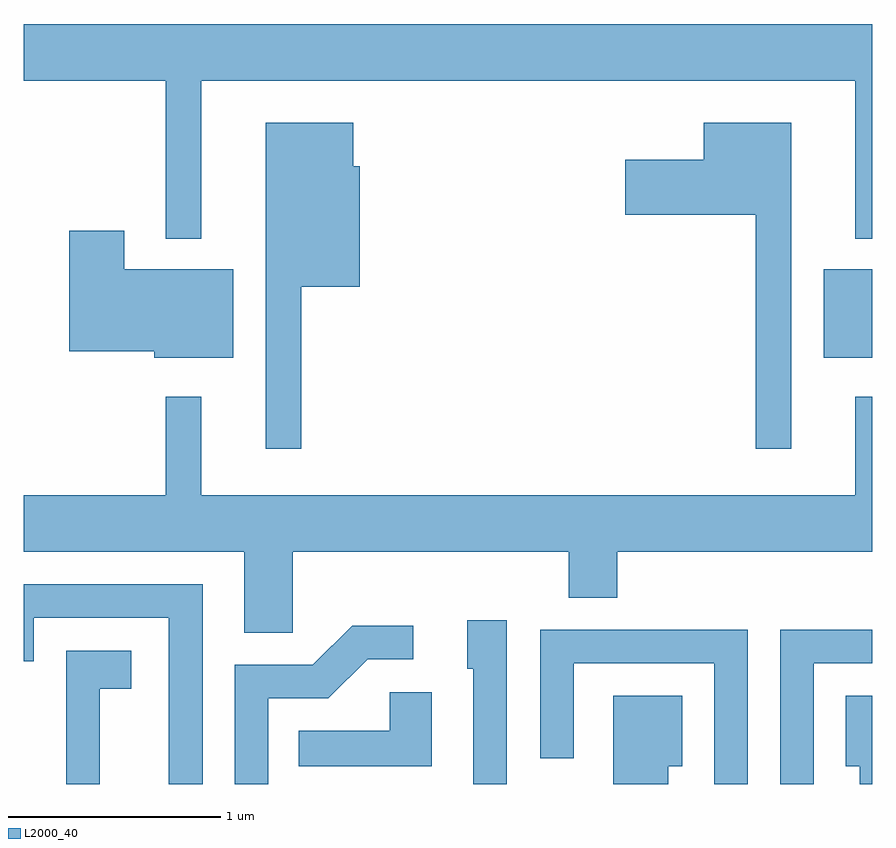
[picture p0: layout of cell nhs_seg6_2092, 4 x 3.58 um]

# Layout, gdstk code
import gdstk
lib = gdstk.Library(unit=1e-6, precision=1e-09)
def R(c, l, rs):  # rectangles x0, y0, x1, y1
    for r in rs: c.add(gdstk.rectangle(r[:2], r[2:], *l))
def P(c, l, *ps):  # polygons
    for p in ps: c.add(gdstk.Polygon(p, *l))
L2000_40 = (2000, 40)

nhs_seg6_2092 = lib.new_cell('nhs_seg6_2092')
R(nhs_seg6_2092, L2000_40, [(251.381,1664.171,251.611,1664.589)])
P(nhs_seg6_2092, L2000_40, [(248.449,1665.476),(251.531,1665.476),(251.531,1664.733),(251.611,1664.733),(251.611,1665.744),(247.611,1665.744),(247.611,1665.476),(248.281,1665.476),(248.281,1664.733),(248.449,1664.733)],
  [(251.229,1665.279),(250.816,1665.279),(250.816,1665.104),(250.446,1665.104),(250.446,1664.846),(251.061,1664.846),(251.061,1663.743),(251.229,1663.743)],
  [(248.919,1664.506),(249.194,1664.506),(249.194,1665.074),(249.164,1665.074),(249.164,1665.279),(248.751,1665.279),(248.751,1663.743),(248.919,1663.743)],
  [(248.599,1664.589),(248.084,1664.589),(248.084,1664.769),(247.826,1664.769),(247.826,1664.201),(248.226,1664.201),(248.226,1664.171),(248.599,1664.171)],
  [(248.879,1663.256),(250.181,1663.256),(250.181,1663.041),(250.409,1663.041),(250.409,1663.256),(251.611,1663.256),(251.611,1663.988),(251.531,1663.988),(251.531,1663.524),(248.449,1663.524),(248.449,1663.988),(248.281,1663.988),(248.281,1663.524),(247.611,1663.524),(247.611,1663.256),(248.651,1663.256),(248.651,1662.876),(248.879,1662.876)],
  [(248.454,1663.104),(247.611,1663.104),(247.611,1662.741),(247.659,1662.741),(247.659,1662.946),(248.296,1662.946),(248.296,1662.162),(248.454,1662.162)],
  [(249.889,1662.934),(249.701,1662.934),(249.701,1662.706),(249.731,1662.706),(249.731,1662.162),(249.889,1662.162)],
  [(248.764,1662.566),(249.047,1662.566),(249.232,1662.751),(249.448,1662.751),(249.448,1662.909),(249.159,1662.909),(248.974,1662.724),(248.606,1662.724),(248.606,1662.162),(248.764,1662.162)],
  [(251.024,1662.889),(250.046,1662.889),(250.046,1662.283),(250.204,1662.283),(250.204,1662.731),(250.866,1662.731),(250.866,1662.162),(251.024,1662.162)],
  [(251.334,1662.731),(251.611,1662.731),(251.611,1662.889),(251.176,1662.889),(251.176,1662.162),(251.334,1662.162)],
  [(247.969,1662.611),(248.119,1662.611),(248.119,1662.789),(247.811,1662.789),(247.811,1662.162),(247.969,1662.162)],
  [(249.534,1662.594),(249.336,1662.594),(249.336,1662.414),(248.908,1662.414),(248.908,1662.246),(249.534,1662.246)],
  [(250.649,1662.246),(250.714,1662.246),(250.714,1662.579),(250.391,1662.579),(250.391,1662.162),(250.649,1662.162)],
  [(251.611,1662.579),(251.486,1662.579),(251.486,1662.246),(251.551,1662.246),(251.551,1662.162),(251.611,1662.162)])

lib.write_gds('nhs_seg6_2092.gds')
